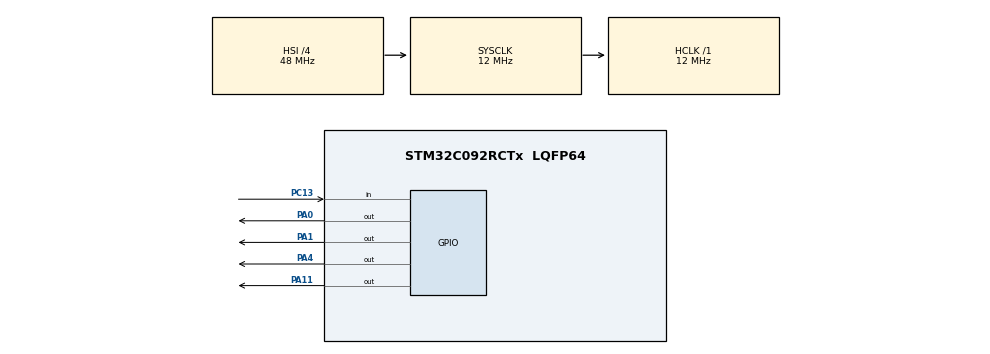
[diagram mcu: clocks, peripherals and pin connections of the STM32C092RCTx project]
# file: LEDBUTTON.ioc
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Mcu.Family=STM32C0
Mcu.Name=STM32C092RCTx
Mcu.Package=LQFP64
NUCLEO-C092RC.BUTTON=1
NUCLEO-C092RC.LD1=true
NUCLEO-C092RC.LD2=true
NUCLEO-C092RC.VCP=true
NVIC.EXTI4_15_IRQn=true\:0\:0\:false\:false\:true\:false\:true\:true
PA0.Signal=GPIO_Output
PA1.Signal=GPIO_Output
PA11\ [PA9].Signal=GPIO_Output
PA13.GPIO_Label=SWDIO
PA13.Signal=DEBUG_SWDIO
PA14-BOOT0.GPIO_Label=SWCLK
PA14-BOOT0.Signal=DEBUG_SWCLK
PA2.Signal=USART2_TX
PA3.Signal=USART2_RX
PA4.Signal=GPIO_Output
PC13.Signal=GPIO_Input
PC14-OSCX_IN(PC14).GPIO_Label=OSCX_IN
PC14-OSCX_IN(PC14).Signal=RCC_OSCX_IN
PC15-OSCX_OUT(PC15).GPIO_Label=OSCX_OUT
PC15-OSCX_OUT(PC15).Signal=RCC_OSCX_OUT
PF0-OSC_IN(PF0).GPIO_Label=OSC_IN
PF0-OSC_IN(PF0).Signal=RCC_OSC_IN
PF1-OSC_OUT(PF1).GPIO_Label=OSC_OUT
PF1-OSC_OUT(PF1).Signal=RCC_OSC_OUT
ProjectManager.HeapSize=0x200
ProjectManager.StackSize=0x400
ProjectManager.TargetToolchain=STM32CubeIDE
RCC.ADCFreq_Value=12000000
RCC.AHBFreq_Value=12000000
RCC.CortexFreq_Value=12000000
RCC.EXTERNAL_CLOCK_VALUE=12288000
RCC.HCLKFreq_Value=12000000
RCC.HSE_VALUE=8000000
RCC.HSI_VALUE=48000000
RCC.LSE_VALUE=32768
RCC.SYSCLKFreq_VALUE=12000000
VP_NUCLEO-C092RC_VS_BSP_COMMON.Mode=COMMON
board=NUCLEO-C092RC

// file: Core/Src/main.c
/* USER CODE BEGIN Header */
/**
  ******************************************************************************
  * @file           : main.c
  * @brief          : Main program body
  ******************************************************************************
  * @attention
  *
  * Copyright (c) 2026 STMicroelectronics.
  * All rights reserved.
  *
  * This software is licensed under terms that can be found in the LICENSE file
  * in the root directory of this software component.
  * If no LICENSE file comes with this software, it is provided AS-IS.
  *
  ******************************************************************************
  */
/* USER CODE END Header */
#include "main.h"

COM_InitTypeDef BspCOMInit;

/* USER CODE BEGIN PV */
uint8_t colorState = 0;
uint8_t buttonPressed = 0;
/* USER CODE END PV */

void SystemClock_Config(void);
static void MX_GPIO_Init(void);

int main(void)
{

  /* MCU Configuration--------------------------------------------------------*/

  /* Reset of all peripherals, Initializes the Flash interface and the Systick. */
  HAL_Init();

  /* Configure the system clock */
  SystemClock_Config();

  /* Initialize all configured peripherals */
  MX_GPIO_Init();
  /* USER CODE BEGIN 2 */
  HAL_GPIO_WritePin(GPIOA, GPIO_PIN_11, GPIO_PIN_RESET);
  /* USER CODE END 2 */

  /* Initialize leds */
  BSP_LED_Init(LED_GREEN);
  BSP_LED_Init(LED_BLUE);

  /* Initialize USER push-button, will be used to trigger an interrupt each time it's pressed.*/
  BSP_PB_Init(BUTTON_USER, BUTTON_MODE_EXTI);

  /* Initialize COM1 port (115200, 8 bits (7-bit data + 1 stop bit), no parity */
  BspCOMInit.BaudRate   = 115200;
  BspCOMInit.WordLength = COM_WORDLENGTH_8B;
  BspCOMInit.StopBits   = COM_STOPBITS_1;
  BspCOMInit.Parity     = COM_PARITY_NONE;
  BspCOMInit.HwFlowCtl  = COM_HWCONTROL_NONE;
  if (BSP_COM_Init(COM1, &BspCOMInit) != BSP_ERROR_NONE)
  {
    Error_Handler();
  }

  /* Infinite loop */
  /* USER CODE BEGIN WHILE */
  while (1)
  {
	  if (HAL_GPIO_ReadPin(GPIOC, GPIO_PIN_13) == GPIO_PIN_RESET)
	      {
	        if (!buttonPressed)
	        {
	          HAL_Delay(20); // Simple debounce delay
	          if (HAL_GPIO_ReadPin(GPIOC, GPIO_PIN_13) == GPIO_PIN_RESET)
	          {
	            colorState++;
	            if (colorState > 4) colorState = 0;
	            buttonPressed = 1;
	          }
	        }
	      }
	      else
	      {
	        buttonPressed = 0;
	      }

	      // Direct, solid pin control based on current state
	      switch (colorState)
	      {
	        case 0: // All Off
	          HAL_GPIO_WritePin(GPIOA, GPIO_PIN_0, GPIO_PIN_RESET);
	          HAL_GPIO_WritePin(GPIOA, GPIO_PIN_1, GPIO_PIN_RESET);
	          HAL_GPIO_WritePin(GPIOA, GPIO_PIN_4, GPIO_PIN_RESET);
	          break;
	        case 1: // Solid Red
	          HAL_GPIO_WritePin(GPIOA, GPIO_PIN_0, GPIO_PIN_SET);
	          HAL_GPIO_WritePin(GPIOA, GPIO_PIN_1, GPIO_PIN_RESET);
	          HAL_GPIO_WritePin(GPIOA, GPIO_PIN_4, GPIO_PIN_RESET);
	          break;
	        case 2: // Solid Green
	          HAL_GPIO_WritePin(GPIOA, GPIO_PIN_0, GPIO_PIN_RESET);
	          HAL_GPIO_WritePin(GPIOA, GPIO_PIN_1, GPIO_PIN_SET);
	          HAL_GPIO_WritePin(GPIOA, GPIO_PIN_4, GPIO_PIN_RESET);
	          break;
	        case 3: // Solid Blue
	          HAL_GPIO_WritePin(GPIOA, GPIO_PIN_0, GPIO_PIN_RESET);
	          HAL_GPIO_WritePin(GPIOA, GPIO_PIN_1, GPIO_PIN_RESET);
	          HAL_GPIO_WritePin(GPIOA, GPIO_PIN_4, GPIO_PIN_SET);
	          break;
	        case 4: // Solid White (All On)
	          HAL_GPIO_WritePin(GPIOA, GPIO_PIN_0, GPIO_PIN_SET);
	          HAL_GPIO_WritePin(GPIOA, GPIO_PIN_1, GPIO_PIN_SET);
	          HAL_GPIO_WritePin(GPIOA, GPIO_PIN_4, GPIO_PIN_SET);
	          break;
	      }
    /* USER CODE END WHILE */

  }
}

void SystemClock_Config(void)
{
  RCC_OscInitTypeDef RCC_OscInitStruct = {0};
  RCC_ClkInitTypeDef RCC_ClkInitStruct = {0};

  __HAL_FLASH_SET_LATENCY(FLASH_LATENCY_0);

  /** Initializes the RCC Oscillators according to the specified parameters
  * in the RCC_OscInitTypeDef structure.
  */
  RCC_OscInitStruct.OscillatorType = RCC_OSCILLATORTYPE_HSI;
  RCC_OscInitStruct.HSIState = RCC_HSI_ON;
  RCC_OscInitStruct.HSIDiv = RCC_HSI_DIV4;
  RCC_OscInitStruct.HSICalibrationValue = RCC_HSICALIBRATION_DEFAULT;
  if (HAL_RCC_OscConfig(&RCC_OscInitStruct) != HAL_OK)
  {
    Error_Handler();
  }

  /** Initializes the CPU, AHB and APB buses clocks
  */
  RCC_ClkInitStruct.ClockType = RCC_CLOCKTYPE_HCLK|RCC_CLOCKTYPE_SYSCLK
                              |RCC_CLOCKTYPE_PCLK1;
  RCC_ClkInitStruct.SYSCLKSource = RCC_SYSCLKSOURCE_HSI;
  RCC_ClkInitStruct.SYSCLKDivider = RCC_SYSCLK_DIV1;
  RCC_ClkInitStruct.AHBCLKDivider = RCC_HCLK_DIV1;
  RCC_ClkInitStruct.APB1CLKDivider = RCC_APB1_DIV1;

  if (HAL_RCC_ClockConfig(&RCC_ClkInitStruct, FLASH_LATENCY_0) != HAL_OK)
  {
    Error_Handler();
  }
}

static void MX_GPIO_Init(void)
{
  GPIO_InitTypeDef GPIO_InitStruct = {0};

  /* GPIO Ports Clock Enable */
  __HAL_RCC_GPIOC_CLK_ENABLE();
  __HAL_RCC_GPIOF_CLK_ENABLE();
  __HAL_RCC_GPIOA_CLK_ENABLE();

  /*Configure GPIO pin Output Level */
  HAL_GPIO_WritePin(GPIOA, GPIO_PIN_0|GPIO_PIN_1|GPIO_PIN_4|GPIO_PIN_11, GPIO_PIN_RESET);

  /*Configure GPIO pin : PC13 */
  GPIO_InitStruct.Pin = GPIO_PIN_13;
  GPIO_InitStruct.Mode = GPIO_MODE_INPUT;
  GPIO_InitStruct.Pull = GPIO_NOPULL;
  HAL_GPIO_Init(GPIOC, &GPIO_InitStruct);

  /*Configure GPIO pins : PA0 PA1 PA4 PA11 */
  GPIO_InitStruct.Pin = GPIO_PIN_0|GPIO_PIN_1|GPIO_PIN_4|GPIO_PIN_11;
  GPIO_InitStruct.Mode = GPIO_MODE_OUTPUT_PP;
  GPIO_InitStruct.Pull = GPIO_NOPULL;
  GPIO_InitStruct.Speed = GPIO_SPEED_FREQ_LOW;
  HAL_GPIO_Init(GPIOA, &GPIO_InitStruct);

}

void Error_Handler(void)
{
  __disable_irq();
  while (1)
  {
  }
}
